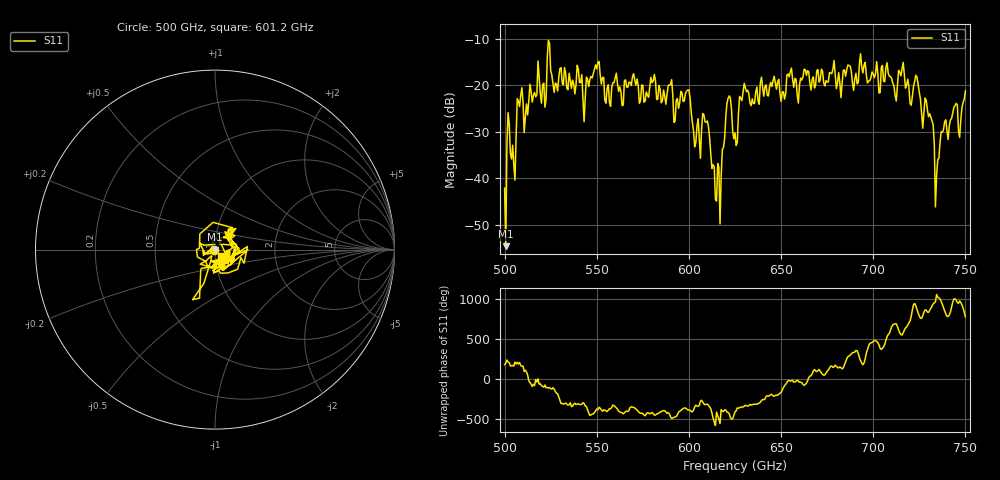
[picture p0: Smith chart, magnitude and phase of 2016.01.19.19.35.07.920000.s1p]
!Created with skrf (http://scikit-rf.org).
# GHz S RI R 50.0
!freq ReS11 ImS11
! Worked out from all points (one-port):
!   401 points, 500 GHz to 750 GHz, reference 50 ohm
!   lowest |S11| = -54.7 dB at 500.6 GHz (marker M1), VSWR 1.00, Z = 49.8 - j0.0467 ohm
!   |S11| at or under -10 dB: start of sweep to end of sweep
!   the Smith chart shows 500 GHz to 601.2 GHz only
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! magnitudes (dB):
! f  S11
! 500 GHz  -42.1
! 500.6 GHz  -54.7
! 502.5 GHz  -28.2
! 505 GHz  -37.2
! 508.1 GHz  -24.5
! 521.2 GHz  -19.5
! 524.4 GHz  -10.9
! 527.5 GHz  -19.5
! 531.2 GHz  -19.5
! 543.8 GHz  -22.6
! 550 GHz  -16.4
! 562.5 GHz  -20.3
! 580.6 GHz  -19.0
! 593.8 GHz  -22.8
! 599.4 GHz  -21.0
! 605 GHz  -27.2
! 608.8 GHz  -27.9
! 615.6 GHz  -36.8
! 621.2 GHz  -22.8
! 625 GHz  -30.2
! 630.6 GHz  -20.5
! 656.2 GHz  -18.7
! 687.5 GHz  -15.8
! 718.8 GHz  -18.6
! 729.4 GHz  -25.2
! 734.4 GHz  -39.4
! 738.1 GHz  -29.5
! 750 GHz  -21.2
